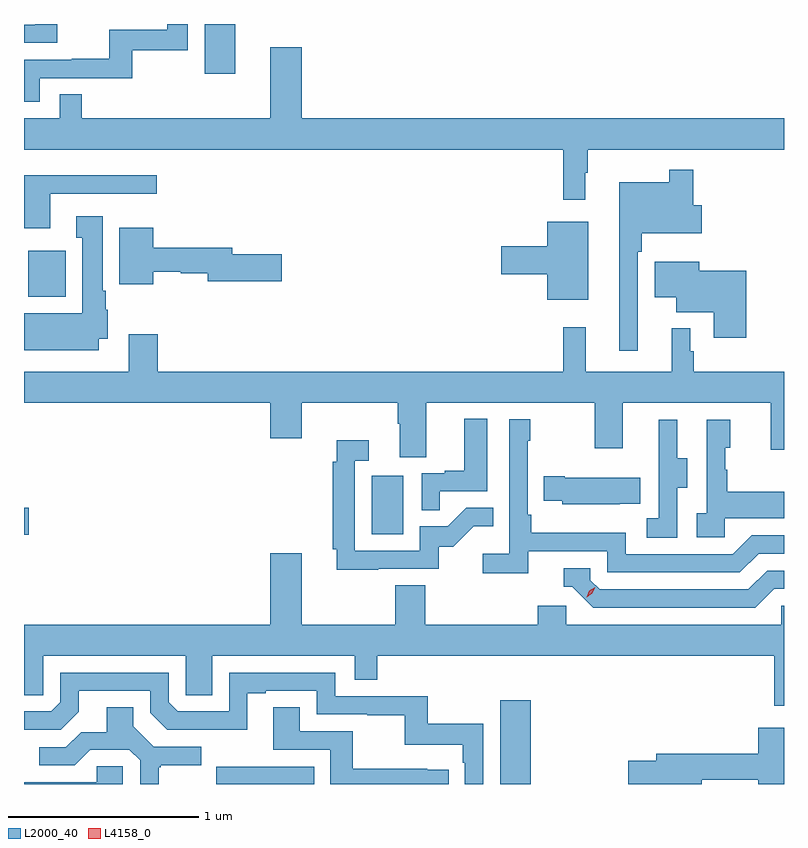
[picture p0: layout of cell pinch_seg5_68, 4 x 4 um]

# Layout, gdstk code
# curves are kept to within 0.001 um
import gdstk
lib = gdstk.Library(unit=1e-6, precision=1e-09)
def R(c, l, rs):  # rectangles x0, y0, x1, y1
    for r in rs: c.add(gdstk.rectangle(r[:2], r[2:], *l))
def P(c, l, *ps):  # polygons
    for p in ps: c.add(gdstk.Polygon(p, *l))
L2000_40 = (2000, 40)
L4158_0 = (4158, 0)

pinch_seg5_68 = lib.new_cell('pinch_seg5_68')
R(pinch_seg5_68, L2000_40, [(1075.812,894.713,1076.327,894.804), (1077.305,894.713,1077.466,895.153), (1074.799,896.026,1074.823,896.168), (1076.63,896.028,1076.794,896.335), (1074.821,897.278,1075.018,897.52), (1075.751,898.452,1075.912,898.713)])
P(pinch_seg5_68, L2000_40, [(1074.882,898.428),(1075.369,898.428),(1075.369,898.575),(1075.662,898.575),(1075.662,898.713),(1075.553,898.713),(1075.553,898.684),(1075.248,898.684),(1075.248,898.529),(1075.051,898.529),(1075.051,898.524),(1074.799,898.524),(1074.799,898.305),(1074.882,898.305)],
  [(1074.974,898.713),(1074.858,898.713),(1074.858,898.71),(1074.799,898.71),(1074.799,898.614),(1074.974,898.614)],
  [(1077.754,897.929),(1077.766,897.929),(1077.766,898.052),(1078.799,898.052),(1078.799,898.216),(1076.26,898.216),(1076.26,898.591),(1076.096,898.591),(1076.096,898.216),(1075.103,898.216),(1075.103,898.343),(1074.987,898.343),(1074.987,898.216),(1074.799,898.216),(1074.799,898.052),(1077.637,898.052),(1077.637,897.789),(1077.754,897.789)],
  [(1078.029,897.515),(1078.049,897.515),(1078.049,897.611),(1078.366,897.611),(1078.366,897.759),(1078.322,897.759),(1078.322,897.946),(1078.194,897.946),(1078.194,897.88),(1077.932,897.88),(1077.932,896.994),(1078.029,896.994)],
  [(1074.937,897.819),(1075.498,897.819),(1075.498,897.916),(1074.799,897.916),(1074.799,897.638),(1074.937,897.638)],
  [(1075.192,897.056),(1075.24,897.056),(1075.24,897.21),(1075.228,897.21),(1075.228,897.31),(1075.213,897.31),(1075.213,897.7),(1075.073,897.7),(1075.073,897.587),(1075.106,897.587),(1075.106,897.19),(1074.799,897.19),(1074.799,896.996),(1075.192,896.996)],
  [(1077.769,897.673),(1077.554,897.673),(1077.554,897.542),(1077.312,897.542),(1077.312,897.395),(1077.554,897.395),(1077.554,897.263),(1077.769,897.263)],
  [(1075.48,897.408),(1075.623,897.408),(1075.623,897.4),(1075.766,897.4),(1075.766,897.358),(1076.155,897.358),(1076.155,897.5),(1075.894,897.5),(1075.894,897.536),(1075.48,897.536),(1075.48,897.64),(1075.301,897.64),(1075.301,897.344),(1075.48,897.344)],
  [(1078.601,897.415),(1078.354,897.415),(1078.354,897.463),(1078.118,897.463),(1078.118,897.275),(1078.232,897.275),(1078.232,897.197),(1078.43,897.197),(1078.43,897.063),(1078.601,897.063)],
  [(1076.917,896.72),(1077.802,896.72),(1077.802,896.481),(1077.949,896.481),(1077.949,896.72),(1078.73,896.72),(1078.73,896.472),(1078.799,896.472),(1078.799,896.884),(1078.325,896.884),(1078.325,896.991),(1078.305,896.991),(1078.305,897.112),(1078.208,897.112),(1078.208,896.884),(1077.755,896.884),(1077.755,897.118),(1077.637,897.118),(1077.637,896.884),(1075.502,896.884),(1075.502,897.079),(1075.349,897.079),(1075.349,896.884),(1074.799,896.884),(1074.799,896.72),(1076.096,896.72),(1076.096,896.532),(1076.26,896.532),(1076.26,896.72),(1076.765,896.72),(1076.765,896.608),(1076.777,896.608),(1076.777,896.434),(1076.917,896.434)],
  [(1076.987,896.253),(1077.238,896.253),(1077.238,896.635),(1077.116,896.635),(1077.116,896.362),(1077.013,896.362),(1077.013,896.349),(1076.892,896.349),(1076.892,896.155),(1076.987,896.155)],
  [(1077.452,895.938),(1077.87,895.938),(1077.87,895.827),(1078.567,895.827),(1078.666,895.926),(1078.799,895.926),(1078.799,896.022),(1078.629,896.022),(1078.53,895.923),(1077.966,895.923),(1077.966,896.035),(1077.47,896.035),(1077.47,896.131),(1077.45,896.131),(1077.45,896.519),(1077.463,896.519),(1077.463,896.632),(1077.354,896.632),(1077.354,895.924),(1077.213,895.924),(1077.213,895.822),(1077.452,895.822)],
  [(1078.236,896.272),(1078.291,896.272),(1078.291,896.427),(1078.237,896.427),(1078.237,896.629),(1078.139,896.629),(1078.139,896.415),(1078.14,896.415),(1078.14,896.111),(1078.077,896.111),(1078.077,896.008),(1078.236,896.008)],
  [(1078.488,896.111),(1078.799,896.111),(1078.799,896.251),(1078.501,896.251),(1078.501,896.366),(1078.491,896.366),(1078.491,896.484),(1078.516,896.484),(1078.516,896.629),(1078.392,896.629),(1078.392,896.138),(1078.341,896.138),(1078.341,896.013),(1078.488,896.013)],
  [(1076.663,895.845),(1076.982,895.845),(1076.982,895.962),(1077.058,895.962),(1077.165,896.069),(1077.269,896.069),(1077.269,896.168),(1077.126,896.168),(1077.028,896.07),(1076.883,896.07),(1076.883,895.941),(1076.541,895.941),(1076.541,896.415),(1076.614,896.415),(1076.614,896.521),(1076.444,896.521),(1076.444,896.408),(1076.425,896.408),(1076.425,895.948),(1076.444,895.948),(1076.444,895.84),(1076.663,895.84)],
  [(1077.935,896.189),(1078.043,896.189),(1078.043,896.326),(1077.646,896.326),(1077.646,896.334),(1077.535,896.334),(1077.535,896.204),(1077.633,896.204),(1077.633,896.186),(1077.935,896.186)],
  [(1078.799,895.65),(1078.785,895.65),(1078.785,895.552),(1077.654,895.552),(1077.654,895.65),(1077.503,895.65),(1077.503,895.552),(1076.912,895.552),(1076.912,895.76),(1076.752,895.76),(1076.752,895.552),(1076.26,895.552),(1076.26,895.927),(1076.096,895.927),(1076.096,895.552),(1074.799,895.552),(1074.799,895.18),(1074.9,895.18),(1074.9,895.388),(1075.65,895.388),(1075.65,895.18),(1075.789,895.18),(1075.789,895.388),(1076.541,895.388),(1076.541,895.261),(1076.657,895.261),(1076.657,895.388),(1078.747,895.388),(1078.747,895.125),(1078.799,895.125)],
  [(1078.747,895.74),(1078.799,895.74),(1078.799,895.836),(1078.71,895.836),(1078.611,895.737),(1077.828,895.737),(1077.78,895.785),(1077.78,895.848),(1077.641,895.848),(1077.641,895.752),(1077.684,895.752),(1077.795,895.641),(1078.648,895.641)],
  [(1077.216,895.03),(1076.923,895.03),(1076.923,895.176),(1076.436,895.176),(1076.436,895.299),(1075.878,895.299),(1075.878,895.095),(1075.608,895.095),(1075.56,895.143),(1075.56,895.299),(1074.99,895.299),(1074.99,895.143),(1074.942,895.095),(1074.799,895.095),(1074.799,894.999),(1074.993,894.999),(1075.087,895.093),(1075.087,895.203),(1075.464,895.203),(1075.464,895.089),(1075.554,894.999),(1075.975,894.998),(1075.975,895.191),(1076.071,895.191),(1076.071,895.203),(1076.34,895.203),(1076.34,895.08),(1076.605,895.08),(1076.605,895.075),(1076.802,895.075),(1076.802,894.92),(1077.107,894.92),(1077.107,894.824),(1077.12,894.824),(1077.12,894.713),(1077.216,894.713)],
  [(1075.507,894.801),(1075.519,894.801),(1075.519,894.812),(1075.732,894.812),(1075.732,894.909),(1075.482,894.909),(1075.375,895.016),(1075.375,895.118),(1075.235,895.118),(1075.235,894.986),(1075.1,894.986),(1075.02,894.906),(1074.879,894.906),(1074.879,894.813),(1075.066,894.813),(1075.147,894.894),(1075.353,894.894),(1075.41,894.837),(1075.41,894.713),(1075.507,894.713)],
  [(1077.034,894.789),(1076.921,894.789),(1076.921,894.794),(1076.528,894.794),(1076.528,894.99),(1076.251,894.99),(1076.251,895.118),(1076.111,895.118),(1076.111,894.894),(1076.412,894.894),(1076.412,894.713),(1077.034,894.713)],
  [(1078.366,894.736),(1078.664,894.736),(1078.664,894.713),(1078.799,894.713),(1078.799,895.009),(1078.664,895.009),(1078.664,894.872),(1078.127,894.872),(1078.127,894.836),(1077.978,894.836),(1077.978,894.713),(1078.366,894.713)],
  [(1075.32,894.807),(1075.183,894.807),(1075.183,894.723),(1074.799,894.723),(1074.799,894.713),(1075.32,894.713)])
P(pinch_seg5_68, L4158_0, [(1077.76,895.696),(1077.76,895.696),(1077.775,895.729),(1077.806,895.749),(1077.806,895.749),(1077.806,895.749),(1077.79,895.716),(1077.76,895.696)])

lib.write_gds('pinch_seg5_68.gds')
